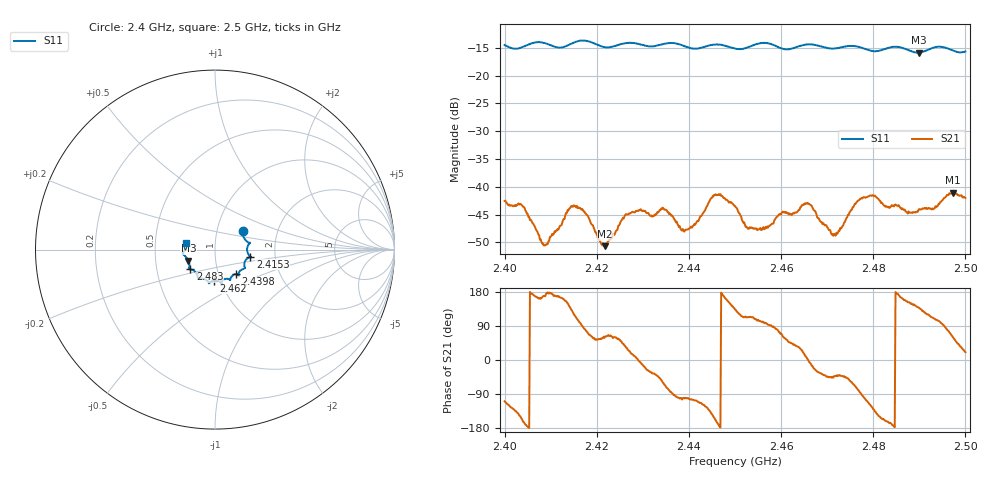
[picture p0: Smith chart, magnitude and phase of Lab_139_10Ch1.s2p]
# Hz S RI R 50
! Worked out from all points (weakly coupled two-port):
!   601 points, 2.4 GHz to 2.5 GHz, reference 50 ohm
!   highest |S21| = -41.06 dB at 2.4973 GHz (marker M1); lowest = -50.7 dB at 2.4218 GHz (marker M2)
!   lowest |S11| = -15.9 dB at 2.4898 GHz (marker M3), VSWR 1.38, Z = 36.8 - j4.62 ohm
!   |S11| at or under -10 dB: start of sweep to end of sweep
!   S12 and S22 are empty: the file has one direction only
!   S11 on the Smith chart (normalised r, x): 2.4 GHz: 1.33, +0.29; 2.4153 GHz: 1.48, -0.12; 2.4398 GHz: 1.21, -0.34; 2.462 GHz: 0.93, -0.33; 2.483 GHz: 0.74, -0.17; 2.5 GHz: 0.72, +0.06
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2.4e9  0.1552 0.1064  -0.00242 -0.00706  0 0  0 0
2.403833e9  0.1731 0.0495  -0.00628 -0.00255  0 0  0 0
2.408833e9  0.1924 0.0349  -0.00291 0.000577  0 0  0 0
2.415333e9  0.1966 -0.0385  -0.00288 0.00603  0 0  0 0
2.416667e9  0.2022 -0.0427  -0.000257 0.00622  0 0  0 0
2.421833e9  0.1687 -0.0623  0.00136 0.00258  0 0  0 0
2.4265e9  0.1678 -0.1017  0.00476 0.003  0 0  0 0
2.433333e9  0.1312 -0.1334  0.00426 -0.00405  0 0  0 0
2.439833e9  0.1154 -0.1366  -0.000736 -0.00407  0 0  0 0
2.445667e9  0.0844 -0.1703  -0.00773 -0.00334  0 0  0 0
2.45e9  0.0648 -0.1626  -0.00462 0.00489  0 0  0 0
2.4525e9  0.041 -0.1726  -0.00168 0.00405  0 0  0 0
2.454667e9  0.0357 -0.1885  -0.00114 0.00406  0 0  0 0
2.462e9  -0.00513 -0.1732  0.00401 0.00407  0 0  0 0
2.466667e9  -0.0342 -0.1876  0.00647 -0.00178  0 0  0 0
2.471333e9  -0.062 -0.1634  0.0025 -0.00263  0 0  0 0
2.4775e9  -0.0972 -0.149  -0.00022 -0.00793  0 0  0 0
2.483e9  -0.1377 -0.1096  -0.0063 -0.002  0 0  0 0
2.483333e9  -0.1402 -0.1094  -0.00638 -0.00173  0 0  0 0
2.489833e9  -0.1486 -0.0611  -0.00465 0.00411  0 0  0 0
2.497333e9  -0.1676 -0.00311  0.00451 0.00761  0 0  0 0
2.5e9  -0.1599 0.0392  0.00742 0.00279  0 0  0 0
